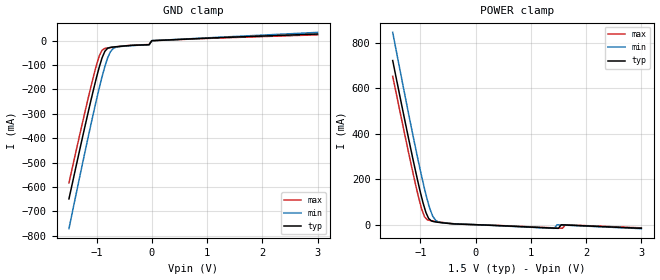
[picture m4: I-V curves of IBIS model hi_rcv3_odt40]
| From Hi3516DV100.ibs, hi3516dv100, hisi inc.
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|   Model hi_rcv3_odt40
[Model]   hi_rcv3_odt40
Model_type   Input
Vinl = 0.575
Vinh = 0.925
| variable   typ   min   max
C_comp   2.01501p   1.94562p   2.11837p
| Subparameter   typ   min   max
[Model Spec]
Vinl   0.575   0.575   0.575
Vinh   0.925   0.925   0.925
| Variable   typ   min   max
[Temperature Range] 25   125   -40
| Variable   typ   min   max
[Voltage Range]   1.5   1.425   1.575
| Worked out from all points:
|   GND clamp passes 1 mA (typ) near -0.00 V on its own axis
|   POWER clamp passes 1 mA (typ) near -0.12 V on its own axis
[Power_clamp]
| Note that the [POWER_clamp] voltage table is referenced to Vcc
| and is calculated using Vtable=Vcc - Vmeasured.
| Voltage   I(typ)   I(min)   I(max)
-1.5V     721.2mA    845mA      652mA
-1.125V   278.3mA    382.4mA    218.3mA
-975mV    119mA      210.8mA    67.9mA
-925mV    74.59mA    158.1mA    34.95mA
-850mV    27.32mA    88.9mA     19.96mA
-775mV    14.64mA    37.17mA    16.22mA
-725mV    12.05mA    19.67mA    14.37mA
1.425V    -15.33mA   -16.27mA   -14.08mA
1.475V    -15.86mA   -555uA     -14.59mA
1.55V     -535.6uA   -1.388mA   -15.32mA
1.625V    -1.339mA   -2.22mA    -491.4uA
3V        -16.07mA   -17.48mA   -14.01mA
[GND_clamp]
| Voltage   I(typ)   I(min)   I(max)
-1.5V     -648.4mA   -770.3mA   -582.6mA
-1.15V    -291.2mA   -392.7mA   -233.5mA
-1.05V    -195mA     -289.9mA   -140.7mA
-950mV    -106.9mA   -192.3mA   -61.85mA
-900mV    -70mA      -146.9mA   -38.87mA
-850mV    -43.46mA   -105.6mA   -31.72mA
-750mV    -27.57mA   -45.59mA   -28.22mA
-700mV    -26.04mA   -32.23mA   -26.83mA
-550mV    -22.7mA    -23.56mA   -22.84mA
-50mV     -16.59mA   -16.81mA   -15.95mA
0V        0A         0A         0A
3V        27.35mA    33.91mA    24.05mA
